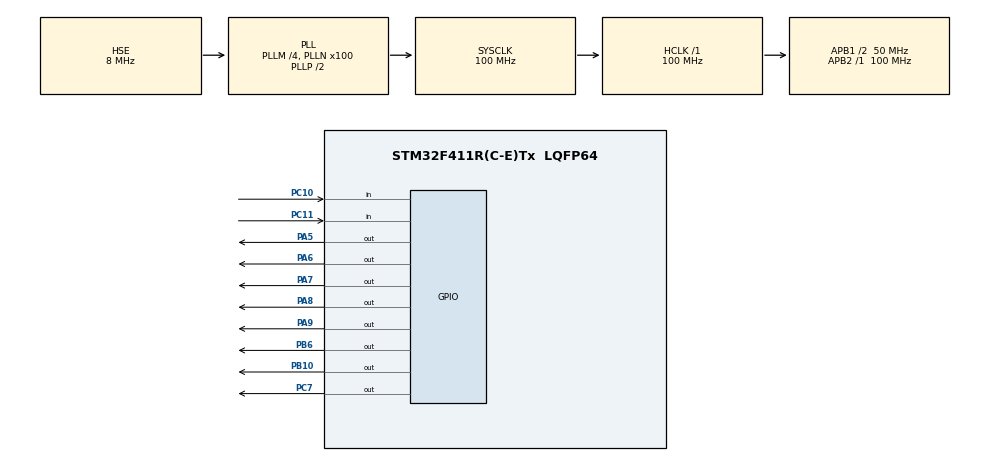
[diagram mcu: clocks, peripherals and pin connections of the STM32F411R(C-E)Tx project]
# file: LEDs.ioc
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Mcu.Family=STM32F4
Mcu.Name=STM32F411R(C-E)Tx
Mcu.Package=LQFP64
NVIC.PriorityGroup=NVIC_PRIORITYGROUP_4
PA13.Mode=Serial_Wire
PA13.Signal=SYS_JTMS-SWDIO
PA14.Mode=Serial_Wire
PA14.Signal=SYS_JTCK-SWCLK
PA5.PinState=GPIO_PIN_RESET
PA5.Signal=GPIO_Output
PA6.PinState=GPIO_PIN_RESET
PA6.Signal=GPIO_Output
PA7.PinState=GPIO_PIN_RESET
PA7.Signal=GPIO_Output
PA8.PinState=GPIO_PIN_RESET
PA8.Signal=GPIO_Output
PA9.PinState=GPIO_PIN_RESET
PA9.Signal=GPIO_Output
PB10.PinState=GPIO_PIN_RESET
PB10.Signal=GPIO_Output
PB6.PinState=GPIO_PIN_RESET
PB6.Signal=GPIO_Output
PC10.Signal=GPIO_Input
PC11.Signal=GPIO_Input
PC7.PinState=GPIO_PIN_RESET
PC7.Signal=GPIO_Output
PH0\ -\ OSC_IN.Mode=HSE-External-Oscillator
PH0\ -\ OSC_IN.Signal=RCC_OSC_IN
PH1\ -\ OSC_OUT.Mode=HSE-External-Oscillator
PH1\ -\ OSC_OUT.Signal=RCC_OSC_OUT
ProjectManager.HeapSize=0x200
ProjectManager.StackSize=0x400
ProjectManager.TargetToolchain=STM32CubeIDE
RCC.48MHZClocksFreq_Value=50000000
RCC.AHBFreq_Value=100000000
RCC.APB1CLKDivider=RCC_HCLK_DIV2
RCC.APB1Freq_Value=50000000
RCC.APB1TimFreq_Value=100000000
RCC.APB2Freq_Value=100000000
RCC.APB2TimFreq_Value=100000000
RCC.CortexFreq_Value=100000000
RCC.HCLKFreq_Value=100000000
RCC.HSE_VALUE=8000000
RCC.HSI_VALUE=16000000
RCC.LSE_VALUE=32768
RCC.PLLM=4
RCC.PLLN=100
RCC.PLLSourceVirtual=RCC_PLLSOURCE_HSE
RCC.SYSCLKFreq_VALUE=100000000
RCC.SYSCLKSource=RCC_SYSCLKSOURCE_PLLCLK
RCC.VCOOutputFreq_Value=200000000
board=custom

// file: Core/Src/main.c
/* USER CODE BEGIN Header */
/**
  ******************************************************************************
  * @file           : main.c
  * @brief          : Main program body
  ******************************************************************************
  * @attention
  *
  * Copyright (c) 2023 STMicroelectronics.
  * All rights reserved.
  *
  * This software is licensed under terms that can be found in the LICENSE file
  * in the root directory of this software component.
  * If no LICENSE file comes with this software, it is provided AS-IS.
  *
  ******************************************************************************
  */
/* USER CODE END Header */
#include "main.h"
#include "gpio.h"

/* USER CODE BEGIN Includes */
#include "button.h"
/* USER CODE END Includes */

void SystemClock_Config(void);

int main(void)
{
  /* USER CODE BEGIN 1 */
  Button button_shiftLeft;
  Button button_shiftRight;
  Button button_toggle;
  /* USER CODE END 1 */

  /* MCU Configuration--------------------------------------------------------*/

  /* Reset of all peripherals, Initializes the Flash interface and the Systick. */
  HAL_Init();

  /* USER CODE BEGIN Init */
  button_init(&button_shiftLeft, GPIOC, GPIO_PIN_10);
  button_init(&button_shiftRight, GPIOC, GPIO_PIN_11);
  button_init(&button_toggle, GPIOC, GPIO_PIN_12);
  /* USER CODE END Init */

  /* Configure the system clock */
  SystemClock_Config();

  /* Initialize all configured peripherals */
  MX_GPIO_Init();
  /* USER CODE BEGIN 2 */
  GPIO_TypeDef *led_GPIO[8] = {
          GPIOA, GPIOA, GPIOA, GPIOB, GPIOC, GPIOA, GPIOA, GPIOB
  };
  uint16_t led_GPIO_pin[8] = {
          GPIO_PIN_5, GPIO_PIN_6, GPIO_PIN_7, GPIO_PIN_6,
          GPIO_PIN_7, GPIO_PIN_9, GPIO_PIN_8, GPIO_PIN_10
  };
  /* USER CODE END 2 */

  /* Infinite loop */
  while (1)
  {

    /* USER CODE BEGIN 3 */
    if (!HAL_GPIO_ReadPin(GPIOC, GPIO_PIN_10)) {
        for (int8_t i = 0; i < 8; i++) {
            HAL_GPIO_WritePin(led_GPIO[i], led_GPIO_pin[i], GPIO_PIN_SET);
            HAL_Delay(50);
            HAL_GPIO_WritePin(led_GPIO[i], led_GPIO_pin[i], GPIO_PIN_RESET);
        }
    }
    if (!HAL_GPIO_ReadPin(GPIOC, GPIO_PIN_11)) {
        for (int8_t i = 7; i >= 0; i--) {
            HAL_GPIO_WritePin(led_GPIO[i], led_GPIO_pin[i], GPIO_PIN_SET);
            HAL_Delay(50);
            HAL_GPIO_WritePin(led_GPIO[i], led_GPIO_pin[i], GPIO_PIN_RESET);
        }
    }
    if (!HAL_GPIO_ReadPin(GPIOC, GPIO_PIN_12)) {
        for (int8_t i = 0; i < 7; i++) {
            HAL_GPIO_WritePin(led_GPIO[i], led_GPIO_pin[i], GPIO_PIN_SET);
            HAL_Delay(50);
            HAL_GPIO_WritePin(led_GPIO[i], led_GPIO_pin[i], GPIO_PIN_RESET);
        }
        for (int8_t i = 7; i > 0; i--) {
            HAL_GPIO_WritePin(led_GPIO[i], led_GPIO_pin[i], GPIO_PIN_SET);
            HAL_Delay(50);
            HAL_GPIO_WritePin(led_GPIO[i], led_GPIO_pin[i], GPIO_PIN_RESET);
        }
    }
  }
  /* USER CODE END 3 */
}

void SystemClock_Config(void)
{
  RCC_OscInitTypeDef RCC_OscInitStruct = {0};
  RCC_ClkInitTypeDef RCC_ClkInitStruct = {0};

  /** Configure the main internal regulator output voltage
  */
  __HAL_RCC_PWR_CLK_ENABLE();
  __HAL_PWR_VOLTAGESCALING_CONFIG(PWR_REGULATOR_VOLTAGE_SCALE1);

  /** Initializes the RCC Oscillators according to the specified parameters
  * in the RCC_OscInitTypeDef structure.
  */
  RCC_OscInitStruct.OscillatorType = RCC_OSCILLATORTYPE_HSE;
  RCC_OscInitStruct.HSEState = RCC_HSE_ON;
  RCC_OscInitStruct.PLL.PLLState = RCC_PLL_ON;
  RCC_OscInitStruct.PLL.PLLSource = RCC_PLLSOURCE_HSE;
  RCC_OscInitStruct.PLL.PLLM = 4;
  RCC_OscInitStruct.PLL.PLLN = 100;
  RCC_OscInitStruct.PLL.PLLP = RCC_PLLP_DIV2;
  RCC_OscInitStruct.PLL.PLLQ = 4;
  if (HAL_RCC_OscConfig(&RCC_OscInitStruct) != HAL_OK)
  {
    Error_Handler();
  }

  /** Initializes the CPU, AHB and APB buses clocks
  */
  RCC_ClkInitStruct.ClockType = RCC_CLOCKTYPE_HCLK|RCC_CLOCKTYPE_SYSCLK
                              |RCC_CLOCKTYPE_PCLK1|RCC_CLOCKTYPE_PCLK2;
  RCC_ClkInitStruct.SYSCLKSource = RCC_SYSCLKSOURCE_PLLCLK;
  RCC_ClkInitStruct.AHBCLKDivider = RCC_SYSCLK_DIV1;
  RCC_ClkInitStruct.APB1CLKDivider = RCC_HCLK_DIV2;
  RCC_ClkInitStruct.APB2CLKDivider = RCC_HCLK_DIV1;

  if (HAL_RCC_ClockConfig(&RCC_ClkInitStruct, FLASH_LATENCY_3) != HAL_OK)
  {
    Error_Handler();
  }
}

void Error_Handler(void)
{
  __disable_irq();
  while (1)
  {
  }
}
